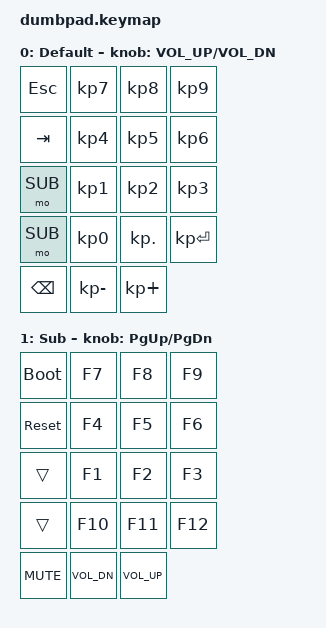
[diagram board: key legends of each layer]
/*
 * Copyright (c) 2024
 * SPDX-License-Identifier: MIT
 */

#include <behaviors.dtsi>
#include <dt-bindings/zmk/keys.h>
#include <dt-bindings/zmk/bt.h>

#define DEFAULT 0
#define SUB     1

/ {
    keymap {
        compatible = "zmk,keymap";

        default_layer {
            label = "Default";
            // Default QMK dumbpad layout (numpad)
            // Encoder button is ESC (could be changed to KC_LOCK if needed)
            // Layout:
            // | ENC | 7  | 8  | 9  |
            // | TAB | 4  | 5  | 6  |
            // | FN  | 1  | 2  | 3  |
            // | FN  | 0  | .  | ENT|
            // |BSPC | -  | +  |    |
            
            bindings = <
                &kp ESC      &kp KP_N7    &kp KP_N8     &kp KP_N9
                &kp TAB      &kp KP_N4    &kp KP_N5     &kp KP_N6
                &mo SUB      &kp KP_N1    &kp KP_N2     &kp KP_N3
                &mo SUB      &kp KP_N0    &kp KP_DOT    &kp KP_ENTER
                &kp BSPC     &kp KP_MINUS &kp KP_PLUS
            >;
            
            sensor-bindings = <&inc_dec_kp C_VOL_UP C_VOL_DN>;
        };

        sub_layer {
            label = "Sub";
            // Function layer with media controls, F-keys, and system functions
            bindings = <
                &bootloader  &kp F7       &kp F8        &kp F9
                &sys_reset   &kp F4       &kp F5        &kp F6
                &trans       &kp F1       &kp F2        &kp F3
                &trans       &kp F10      &kp F11       &kp F12
                &kp C_MUTE   &kp C_VOL_DN &kp C_VOL_UP
            >;
            
            sensor-bindings = <&inc_dec_kp PG_UP PG_DN>;
        };
    };
};
